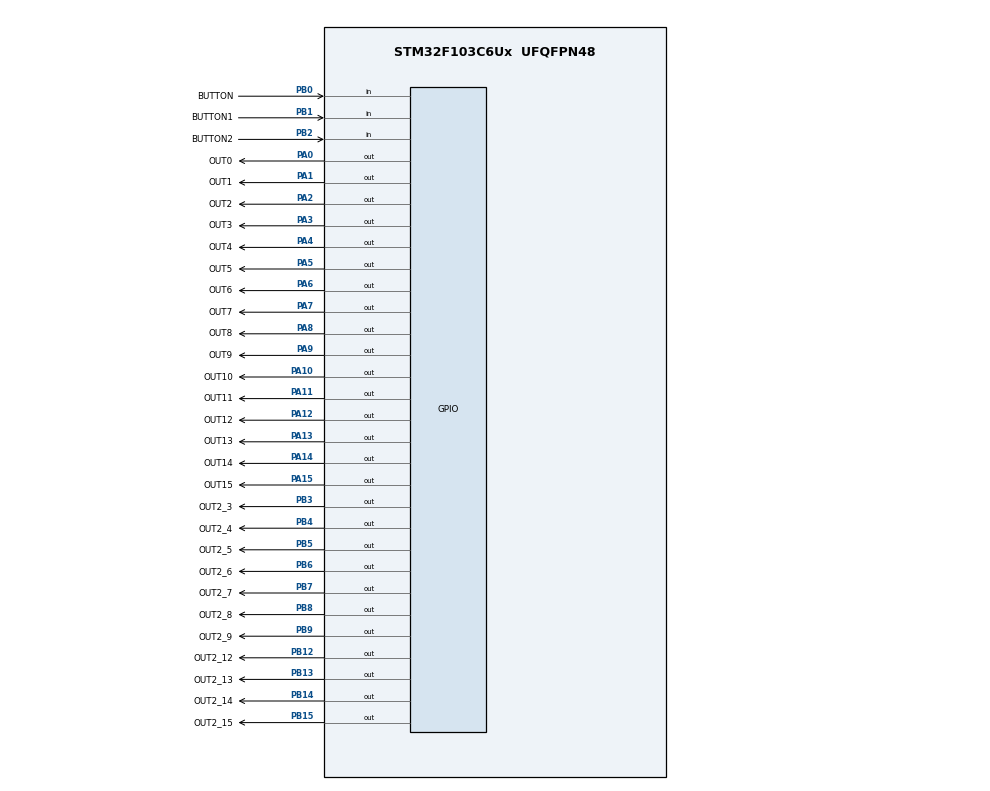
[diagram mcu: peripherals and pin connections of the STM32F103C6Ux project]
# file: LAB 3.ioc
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Mcu.Family=STM32F1
Mcu.Name=STM32F103C6Ux
Mcu.Package=UFQFPN48
NVIC.PriorityGroup=NVIC_PRIORITYGROUP_4
NVIC.TIM2_IRQn=true\:0\:0\:false\:false\:true\:true\:true
PA0-WKUP.GPIO_Label=OUT0
PA0-WKUP.Signal=GPIO_Output
PA1.GPIO_Label=OUT1
PA1.Signal=GPIO_Output
PA10.GPIO_Label=OUT10
PA10.Signal=GPIO_Output
PA11.GPIO_Label=OUT11
PA11.Signal=GPIO_Output
PA12.GPIO_Label=OUT12
PA12.Signal=GPIO_Output
PA13.GPIO_Label=OUT13
PA13.Signal=GPIO_Output
PA14.GPIO_Label=OUT14
PA14.Signal=GPIO_Output
PA15.GPIO_Label=OUT15
PA15.Signal=GPIO_Output
PA2.GPIO_Label=OUT2
PA2.Signal=GPIO_Output
PA3.GPIO_Label=OUT3
PA3.Signal=GPIO_Output
PA4.GPIO_Label=OUT4
PA4.Signal=GPIO_Output
PA5.GPIO_Label=OUT5
PA5.Signal=GPIO_Output
PA6.GPIO_Label=OUT6
PA6.Signal=GPIO_Output
PA7.GPIO_Label=OUT7
PA7.Signal=GPIO_Output
PA8.GPIO_Label=OUT8
PA8.Signal=GPIO_Output
PA9.GPIO_Label=OUT9
PA9.Signal=GPIO_Output
PB0.GPIO_Label=BUTTON
PB0.Signal=GPIO_Input
PB1.GPIO_Label=BUTTON1
PB1.Signal=GPIO_Input
PB12.GPIO_Label=OUT2_12
PB12.Signal=GPIO_Output
PB13.GPIO_Label=OUT2_13
PB13.Signal=GPIO_Output
PB14.GPIO_Label=OUT2_14
PB14.Signal=GPIO_Output
PB15.GPIO_Label=OUT2_15
PB15.Signal=GPIO_Output
PB2.GPIO_Label=BUTTON2
PB2.Signal=GPIO_Input
PB3.GPIO_Label=OUT2_3
PB3.Signal=GPIO_Output
PB4.GPIO_Label=OUT2_4
PB4.Signal=GPIO_Output
PB5.GPIO_Label=OUT2_5
PB5.Signal=GPIO_Output
PB6.GPIO_Label=OUT2_6
PB6.Signal=GPIO_Output
PB7.GPIO_Label=OUT2_7
PB7.Signal=GPIO_Output
PB8.GPIO_Label=OUT2_8
PB8.Signal=GPIO_Output
PB9.GPIO_Label=OUT2_9
PB9.Signal=GPIO_Output
ProjectManager.HeapSize=0x200
ProjectManager.StackSize=0x400
ProjectManager.TargetToolchain=STM32CubeIDE
RCC.APB1Freq_Value=8000000
RCC.APB2Freq_Value=8000000
TIM2.Period=9
TIM2.Prescaler=7999
VP_SYS_VS_ND.Mode=No_Debug
VP_TIM2_VS_ClockSourceINT.Mode=Internal
board=custom

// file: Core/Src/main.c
/* USER CODE BEGIN Header */
/**
  ******************************************************************************
  * @file           : main.c
  * @brief          : Main program body
  ******************************************************************************
  * @attention
  *
  * <h2><center>&copy; Copyright (c) 2023 STMicroelectronics.
  * All rights reserved.</center></h2>
  *
  * This software component is licensed by ST under BSD 3-Clause license,
  * the "License"; You may not use this file except in compliance with the
  * License. You may obtain a copy of the License at:
  *                        opensource.org/licenses/BSD-3-Clause
  *
  ******************************************************************************
  */
/* USER CODE END Header */
#include "main.h"
#include "Led.h"
#include "input_processing.h"

TIM_HandleTypeDef htim2;

void SystemClock_Config(void);
static void MX_GPIO_Init(void);
static void MX_TIM2_Init(void);

int main(void)
{

  /* MCU Configuration--------------------------------------------------------*/

  /* Reset of all peripherals, Initializes the Flash interface and the Systick. */
  HAL_Init();

  /* USER CODE BEGIN Init */
  //
  /* USER CODE END Init */

  /* Configure the system clock */
  SystemClock_Config();

  /* Initialize all configured peripherals */
  MX_GPIO_Init();
  MX_TIM2_Init();
  /* USER CODE BEGIN 2 */
	#define GREEN 3
	#define RED 5
	#define YELLOW 2
	#define Tick 10
	int TicktoSecond = 1000/Tick;
	int TotalTime = GREEN + RED+ YELLOW;
	static int TotalTime2 = GREEN + RED + YELLOW;
	static int Intitalizer = 0;
	int R,G,Y;
	int R1,G1,Y1,R2,G2,Y2;
	int LEDindex = 0;
	static int LEDindex1 = 0;
	static int LEDfirstSetNum = 0;
	int LEDSecondSetNum = 0;
	int DisplayCycleTime;
	static int DisplayCycleTime1;
	static int flipflop = 0;
	static int flipflop1 = 0;
	static int Mode = 0;
	int debounce;
	static int debounce1;
	static int debounce2;
	static int debounce3;
	static int SecondCount;
	static int RED1 = RED;
	static int GREEN1 = GREEN;
	static int YELLOW1 = YELLOW;
	static int TempRED1 = RED;
	static int TempGREEN1 = GREEN;
	static int TempYELLOW1 = YELLOW;
	extern int timer0_flag;
	setTimer0(10);
  HAL_TIM_Base_Start_IT (& htim2 ) ;
  /* USER CODE END 2 */

  /* Infinite loop */
  /* USER CODE BEGIN WHILE */
  while (1)
  {
	  if(timer0_flag == 1) {
    /* USER CODE END WHILE */
	  fsm_for_input_processing ();
		if (Intitalizer == 0){
			TotalTime2 = TotalTime2*TicktoSecond;
			TotalTime = TotalTime*TicktoSecond;
			R = RED1*TicktoSecond;
			G = GREEN1*TicktoSecond;
			Y = YELLOW1*TicktoSecond;
			R1 = RED1;
			G1 = GREEN1;
			Y1 = YELLOW1;
			R2 = RED1;
			G2 = GREEN1;
			Y2 = YELLOW1;
			DisplayCycleTime = TicktoSecond / 2;
			DisplayCycleTime1 = DisplayCycleTime;
			Intitalizer = 1;
			debounce = TicktoSecond/2;
			debounce1 = debounce;
			debounce2 = debounce;
			debounce3 = debounce;
			SecondCount = TicktoSecond/2;
		}

		if ( HAL_GPIO_ReadPin (OUT13_GPIO_Port , OUT13_Pin) == GPIO_PIN_RESET && debounce1>= debounce){
			if (Mode == 0){
				HAL_GPIO_WritePin ( OUT0_GPIO_Port , OUT0_Pin ,GPIO_PIN_SET);
				HAL_GPIO_WritePin ( OUT1_GPIO_Port , OUT1_Pin ,GPIO_PIN_SET);
				HAL_GPIO_WritePin ( OUT2_GPIO_Port , OUT2_Pin ,GPIO_PIN_SET);
				HAL_GPIO_WritePin ( OUT3_GPIO_Port , OUT3_Pin ,GPIO_PIN_SET);
				HAL_GPIO_WritePin ( OUT4_GPIO_Port , OUT4_Pin ,GPIO_PIN_SET);
				HAL_GPIO_WritePin ( OUT5_GPIO_Port , OUT5_Pin ,GPIO_PIN_SET);
				flipflop = 0;
				flipflop1 = 0;
				Mode++;
				LEDfirstSetNum = RED1;
				LEDSecondSetNum = Mode;
			}
			else if (Mode == 1){
				HAL_GPIO_WritePin ( OUT0_GPIO_Port , OUT0_Pin ,GPIO_PIN_SET);
				HAL_GPIO_WritePin ( OUT1_GPIO_Port , OUT1_Pin ,GPIO_PIN_SET);
				HAL_GPIO_WritePin ( OUT2_GPIO_Port , OUT2_Pin ,GPIO_PIN_SET);
				HAL_GPIO_WritePin ( OUT3_GPIO_Port , OUT3_Pin ,GPIO_PIN_SET);
				HAL_GPIO_WritePin ( OUT4_GPIO_Port , OUT4_Pin ,GPIO_PIN_SET);
				HAL_GPIO_WritePin ( OUT5_GPIO_Port , OUT5_Pin ,GPIO_PIN_SET);
				flipflop = 0;
				flipflop1 = 0;
				Mode++;
				LEDfirstSetNum = YELLOW1;
				LEDSecondSetNum = Mode;
			}
			else if (Mode == 2){
				HAL_GPIO_WritePin ( OUT0_GPIO_Port , OUT0_Pin ,GPIO_PIN_SET);
				HAL_GPIO_WritePin ( OUT1_GPIO_Port , OUT1_Pin ,GPIO_PIN_SET);
				HAL_GPIO_WritePin ( OUT2_GPIO_Port , OUT2_Pin ,GPIO_PIN_SET);
				HAL_GPIO_WritePin ( OUT3_GPIO_Port , OUT3_Pin ,GPIO_PIN_SET);
				HAL_GPIO_WritePin ( OUT4_GPIO_Port , OUT4_Pin ,GPIO_PIN_SET);
				HAL_GPIO_WritePin ( OUT5_GPIO_Port , OUT5_Pin ,GPIO_PIN_SET);
				flipflop = 0;
				flipflop1 = 0;
				Mode++;
				LEDfirstSetNum = GREEN1;
				LEDSecondSetNum = Mode;
			}
			else{
				TotalTime = (RED1 + GREEN1 + YELLOW1)*TicktoSecond;
				TotalTime2 = TotalTime;
				R1 = RED1;
				G1 = GREEN1;
				Y1 = YELLOW1;
				R2 = RED1;
				G2 = GREEN1;
				Y2 = YELLOW1;
				LEDindex = 0;
				LEDindex1 = 0;
				LEDfirstSetNum = 0;
				LEDSecondSetNum = 0;
				DisplayCycleTime1 = DisplayCycleTime;
				TempRED1 = RED1;
				TempYELLOW1 = YELLOW1;
				TempGREEN1 = GREEN1;
				Mode = 0;
			}
			debounce1 = 0;
		}
		debounce1++;
		switch(Mode){
			case 0:
				if( TotalTime2 <= TotalTime && TotalTime2 > TotalTime - R) {
					HAL_GPIO_WritePin ( OUT0_GPIO_Port , OUT0_Pin ,GPIO_PIN_RESET);
					HAL_GPIO_WritePin ( OUT1_GPIO_Port , OUT1_Pin ,GPIO_PIN_SET);
					HAL_GPIO_WritePin ( OUT2_GPIO_Port , OUT2_Pin ,GPIO_PIN_SET);

				}
				else if (TotalTime2 <= TotalTime - R && TotalTime2 > TotalTime - R - G){
					HAL_GPIO_WritePin ( OUT0_GPIO_Port , OUT0_Pin ,GPIO_PIN_SET);
					HAL_GPIO_WritePin ( OUT1_GPIO_Port , OUT1_Pin ,GPIO_PIN_SET);
					HAL_GPIO_WritePin ( OUT2_GPIO_Port , OUT2_Pin ,GPIO_PIN_RESET);
				}
				else if (TotalTime2 <= TotalTime - R - G && TotalTime2 > 0){
					HAL_GPIO_WritePin ( OUT0_GPIO_Port , OUT0_Pin ,GPIO_PIN_SET);
					HAL_GPIO_WritePin ( OUT1_GPIO_Port , OUT1_Pin ,GPIO_PIN_RESET);
					HAL_GPIO_WritePin ( OUT2_GPIO_Port , OUT2_Pin ,GPIO_PIN_SET);
				}
				if (TotalTime2 % TicktoSecond == 0){

					switch (LEDindex) {
						case 0:
							LEDfirstSetNum = R1;
							R1--;
							if (R1 == 0){
								LEDindex = 1;
								R1 = RED1;
							}
							break ;
						case 1:
							LEDfirstSetNum = G1;
							G1--;
							if (G1 == 0){
								LEDindex = 2;
								G1 = GREEN1;
							}
							break ;
						case 2:
							LEDfirstSetNum = Y1;
							Y1--;
							if (Y1 == 0){
								LEDindex = 0;
								Y1 = YELLOW1;
							}
							break ;
						default :
							break ;
						}
					switch (LEDindex1) {
						case 0:
							LEDSecondSetNum = G2;
							G2--;
							if (G2 == 0){
								LEDindex1 = 1;
								G2 = GREEN1;
							}
							break ;
						case 1:
							LEDSecondSetNum = Y2;
							Y2--;
							if (Y2 == 0){
								LEDindex1 = 2;
								Y2 = YELLOW1;
							}
							break ;
						case 2:
							LEDSecondSetNum = R2;
							R2--;
							if (R2 == 0){
								LEDindex1 = 0;
								R2 = RED1;
							}
							break ;
						default :
							break ;
						}

					}

				if( TotalTime2 <= TotalTime && TotalTime2 > TotalTime - G) {
					HAL_GPIO_WritePin ( OUT3_GPIO_Port , OUT3_Pin ,GPIO_PIN_SET);
					HAL_GPIO_WritePin ( OUT4_GPIO_Port , OUT4_Pin ,GPIO_PIN_SET);
					HAL_GPIO_WritePin ( OUT5_GPIO_Port , OUT5_Pin ,GPIO_PIN_RESET);
				}
				else if (TotalTime2 <= TotalTime - G && TotalTime2 > TotalTime - Y - G){
					HAL_GPIO_WritePin ( OUT3_GPIO_Port , OUT3_Pin ,GPIO_PIN_SET);
					HAL_GPIO_WritePin ( OUT4_GPIO_Port , OUT4_Pin ,GPIO_PIN_RESET);
					HAL_GPIO_WritePin ( OUT5_GPIO_Port , OUT5_Pin ,GPIO_PIN_SET);
				}
				else if (TotalTime2 <= TotalTime - Y - G && TotalTime2 > 0){
					HAL_GPIO_WritePin ( OUT3_GPIO_Port , OUT3_Pin ,GPIO_PIN_RESET);
					HAL_GPIO_WritePin ( OUT4_GPIO_Port , OUT4_Pin ,GPIO_PIN_SET);
					HAL_GPIO_WritePin ( OUT5_GPIO_Port , OUT5_Pin ,GPIO_PIN_SET);
				}

				if (DisplayCycleTime1 <= 0){
					switch(flipflop){
						case 0:
							HAL_GPIO_WritePin ( OUT2_12_GPIO_Port , OUT2_12_Pin ,GPIO_PIN_RESET);
							HAL_GPIO_WritePin ( OUT2_13_GPIO_Port , OUT2_13_Pin ,GPIO_PIN_SET);
							update7SEGFirstSet(0,LEDfirstSetNum/10,LEDfirstSetNum%10);
							flipflop = 1;
							break;
						case 1:
							HAL_GPIO_WritePin ( OUT2_12_GPIO_Port , OUT2_12_Pin ,GPIO_PIN_SET);
							HAL_GPIO_WritePin ( OUT2_13_GPIO_Port , OUT2_13_Pin ,GPIO_PIN_RESET);
							update7SEGFirstSet(1,LEDfirstSetNum/10,LEDfirstSetNum%10);
							flipflop = 0;
							break;
						default :
							break ;

					}
					switch(flipflop1){
						case 0:
							HAL_GPIO_WritePin ( OUT2_14_GPIO_Port , OUT2_14_Pin ,GPIO_PIN_RESET);
							HAL_GPIO_WritePin ( OUT2_15_GPIO_Port , OUT2_15_Pin ,GPIO_PIN_SET);
							update7SEGSecondSet(0,LEDSecondSetNum/10,LEDSecondSetNum%10);
							flipflop1 = 1;
							break;
						case 1:
							HAL_GPIO_WritePin ( OUT2_14_GPIO_Port , OUT2_14_Pin ,GPIO_PIN_SET);
							HAL_GPIO_WritePin ( OUT2_15_GPIO_Port , OUT2_15_Pin ,GPIO_PIN_RESET);
							update7SEGSecondSet(1,LEDSecondSetNum/10,LEDSecondSetNum%10);
							flipflop1 = 0;
							break;
						default :
							break ;

					}
					DisplayCycleTime1 = DisplayCycleTime;
				}

				if (TotalTime2 <= 0){
					TotalTime2 = TotalTime;
				}

				DisplayCycleTime1--;
				TotalTime2--;
				break;
			case 1:
				SecondCount--;
				if (SecondCount <= 0){
					HAL_GPIO_TogglePin(OUT0_GPIO_Port,OUT0_Pin);
					HAL_GPIO_TogglePin(OUT3_GPIO_Port,OUT3_Pin);
					SecondCount = TicktoSecond/2;
				}
				if ( HAL_GPIO_ReadPin (OUT14_GPIO_Port , OUT14_Pin) == GPIO_PIN_RESET && debounce2>= debounce){
					TempRED1++;
					LEDfirstSetNum = TempRED1;
					debounce2 = 0;
				}
				if ( HAL_GPIO_ReadPin (OUT15_GPIO_Port , OUT15_Pin) == GPIO_PIN_RESET && debounce3>= debounce){
					RED1 = TempRED1;
					LEDfirstSetNum = RED1;
					debounce3 = 0;
				}

				if (DisplayCycleTime1 <= 0){
					switch(flipflop){
						case 0:
							HAL_GPIO_WritePin ( OUT2_12_GPIO_Port , OUT2_12_Pin ,GPIO_PIN_RESET);
							HAL_GPIO_WritePin ( OUT2_13_GPIO_Port , OUT2_13_Pin ,GPIO_PIN_SET);
							update7SEGFirstSet(0,LEDfirstSetNum/10,LEDfirstSetNum%10);
							flipflop = 1;
							break;
						case 1:
							HAL_GPIO_WritePin ( OUT2_12_GPIO_Port , OUT2_12_Pin ,GPIO_PIN_SET);
							HAL_GPIO_WritePin ( OUT2_13_GPIO_Port , OUT2_13_Pin ,GPIO_PIN_RESET);
							update7SEGFirstSet(1,LEDfirstSetNum/10,LEDfirstSetNum%10);
							flipflop = 0;
							break;
						default :
							break ;

					}
					switch(flipflop1){
						case 0:
							HAL_GPIO_WritePin ( OUT2_14_GPIO_Port , OUT2_14_Pin ,GPIO_PIN_RESET);
							HAL_GPIO_WritePin ( OUT2_15_GPIO_Port , OUT2_15_Pin ,GPIO_PIN_SET);
							update7SEGSecondSet(0,LEDSecondSetNum/10,LEDSecondSetNum%10);
							flipflop1 = 1;
							break;
						case 1:
							HAL_GPIO_WritePin ( OUT2_14_GPIO_Port , OUT2_14_Pin ,GPIO_PIN_SET);
							HAL_GPIO_WritePin ( OUT2_15_GPIO_Port , OUT2_15_Pin ,GPIO_PIN_RESET);
							update7SEGSecondSet(1,LEDSecondSetNum/10,LEDSecondSetNum%10);
							flipflop1 = 0;
							break;
						default :
							break ;

					}
					DisplayCycleTime1 = DisplayCycleTime;
				}
				debounce3++;
				debounce2++;
				DisplayCycleTime1--;
				break;
			case 2:
				SecondCount--;
				if (SecondCount <= 0){
					HAL_GPIO_TogglePin(OUT1_GPIO_Port,OUT1_Pin);
					HAL_GPIO_TogglePin(OUT4_GPIO_Port,OUT4_Pin);
					SecondCount = TicktoSecond/2;
				}

				if ( HAL_GPIO_ReadPin (OUT14_GPIO_Port , OUT14_Pin) == GPIO_PIN_RESET && debounce2>= debounce){
					TempYELLOW1++;
					LEDfirstSetNum = TempYELLOW1;
					debounce2 = 0;
				}
				if ( HAL_GPIO_ReadPin (OUT15_GPIO_Port , OUT15_Pin) == GPIO_PIN_RESET && debounce3>= debounce){
					YELLOW1 = TempYELLOW1;
					LEDfirstSetNum = YELLOW1;
					debounce3 = 0;
				}

				if (DisplayCycleTime1 <= 0){
					switch(flipflop){
						case 0:
							HAL_GPIO_WritePin ( OUT2_12_GPIO_Port , OUT2_12_Pin ,GPIO_PIN_RESET);
							HAL_GPIO_WritePin ( OUT2_13_GPIO_Port , OUT2_13_Pin ,GPIO_PIN_SET);
							update7SEGFirstSet(0,LEDfirstSetNum/10,LEDfirstSetNum%10);
							flipflop = 1;
							break;
						case 1:
							HAL_GPIO_WritePin ( OUT2_12_GPIO_Port , OUT2_12_Pin ,GPIO_PIN_SET);
							HAL_GPIO_WritePin ( OUT2_13_GPIO_Port , OUT2_13_Pin ,GPIO_PIN_RESET);
							update7SEGFirstSet(1,LEDfirstSetNum/10,LEDfirstSetNum%10);
							flipflop = 0;
							break;
						default :
							break ;

					}
					switch(flipflop1){
						case 0:
							HAL_GPIO_WritePin ( OUT2_14_GPIO_Port , OUT2_14_Pin ,GPIO_PIN_RESET);
							HAL_GPIO_WritePin ( OUT2_15_GPIO_Port , OUT2_15_Pin ,GPIO_PIN_SET);
							update7SEGSecondSet(0,LEDSecondSetNum/10,LEDSecondSetNum%10);
							flipflop1 = 1;
							break;
						case 1:
							HAL_GPIO_WritePin ( OUT2_14_GPIO_Port , OUT2_14_Pin ,GPIO_PIN_SET);
							HAL_GPIO_WritePin ( OUT2_15_GPIO_Port , OUT2_15_Pin ,GPIO_PIN_RESET);
							update7SEGSecondSet(1,LEDSecondSetNum/10,LEDSecondSetNum%10);
							flipflop1 = 0;
							break;
						default :
							break ;

					}
					DisplayCycleTime1 = DisplayCycleTime;
				}
				debounce3++;
				debounce2++;
				DisplayCycleTime1--;
				break;
			case 3:
				SecondCount--;
				if (SecondCount <= 0){
					HAL_GPIO_TogglePin(OUT2_GPIO_Port,OUT2_Pin);
					HAL_GPIO_TogglePin(OUT5_GPIO_Port,OUT5_Pin);
					SecondCount = TicktoSecond/2;
				}

				if ( HAL_GPIO_ReadPin (OUT14_GPIO_Port , OUT14_Pin) == GPIO_PIN_RESET && debounce2>= debounce){
					TempGREEN1++;
					LEDfirstSetNum = TempGREEN1;
					debounce2 = 0;
				}
				if ( HAL_GPIO_ReadPin (OUT15_GPIO_Port , OUT15_Pin) == GPIO_PIN_RESET && debounce3>= debounce){
					GREEN1 = TempGREEN1;
					LEDfirstSetNum = GREEN1;
					debounce3 = 0;
				}

				if (DisplayCycleTime1 <= 0){
					switch(flipflop){
						case 0:
							HAL_GPIO_WritePin ( OUT2_12_GPIO_Port , OUT2_12_Pin ,GPIO_PIN_RESET);
							HAL_GPIO_WritePin ( OUT2_13_GPIO_Port , OUT2_13_Pin ,GPIO_PIN_SET);
							update7SEGFirstSet(0,LEDfirstSetNum/10,LEDfirstSetNum%10);
							flipflop = 1;
							break;
						case 1:
							HAL_GPIO_WritePin ( OUT2_12_GPIO_Port , OUT2_12_Pin ,GPIO_PIN_SET);
							HAL_GPIO_WritePin ( OUT2_13_GPIO_Port , OUT2_13_Pin ,GPIO_PIN_RESET);
							update7SEGFirstSet(1,LEDfirstSetNum/10,LEDfirstSetNum%10);
							flipflop = 0;
							break;
						default :
							break ;

					}
					switch(flipflop1){
						case 0:
							HAL_GPIO_WritePin ( OUT2_14_GPIO_Port , OUT2_14_Pin ,GPIO_PIN_RESET);
							HAL_GPIO_WritePin ( OUT2_15_GPIO_Port , OUT2_15_Pin ,GPIO_PIN_SET);
							update7SEGSecondSet(0,LEDSecondSetNum/10,LEDSecondSetNum%10);
							flipflop1 = 1;
							break;
						case 1:
							HAL_GPIO_WritePin ( OUT2_14_GPIO_Port , OUT2_14_Pin ,GPIO_PIN_SET);
							HAL_GPIO_WritePin ( OUT2_15_GPIO_Port , OUT2_15_Pin ,GPIO_PIN_RESET);
							update7SEGSecondSet(1,LEDSecondSetNum/10,LEDSecondSetNum%10);
							flipflop1 = 0;
							break;
						default :
							break ;

					}
					DisplayCycleTime1 = DisplayCycleTime;
				}
				debounce3++;
				debounce2++;
				DisplayCycleTime1--;
				break;

		}
		setTimer0(10);
	  }
  }
}

void SystemClock_Config(void)
{
  RCC_OscInitTypeDef RCC_OscInitStruct = {0};
  RCC_ClkInitTypeDef RCC_ClkInitStruct = {0};

  /** Initializes the RCC Oscillators according to the specified parameters
  * in the RCC_OscInitTypeDef structure.
  */
  RCC_OscInitStruct.OscillatorType = RCC_OSCILLATORTYPE_HSI;
  RCC_OscInitStruct.HSIState = RCC_HSI_ON;
  RCC_OscInitStruct.HSICalibrationValue = RCC_HSICALIBRATION_DEFAULT;
  RCC_OscInitStruct.PLL.PLLState = RCC_PLL_NONE;
  if (HAL_RCC_OscConfig(&RCC_OscInitStruct) != HAL_OK)
  {
    Error_Handler();
  }
  /** Initializes the CPU, AHB and APB buses clocks
  */
  RCC_ClkInitStruct.ClockType = RCC_CLOCKTYPE_HCLK|RCC_CLOCKTYPE_SYSCLK
                              |RCC_CLOCKTYPE_PCLK1|RCC_CLOCKTYPE_PCLK2;
  RCC_ClkInitStruct.SYSCLKSource = RCC_SYSCLKSOURCE_HSI;
  RCC_ClkInitStruct.AHBCLKDivider = RCC_SYSCLK_DIV1;
  RCC_ClkInitStruct.APB1CLKDivider = RCC_HCLK_DIV1;
  RCC_ClkInitStruct.APB2CLKDivider = RCC_HCLK_DIV1;

  if (HAL_RCC_ClockConfig(&RCC_ClkInitStruct, FLASH_LATENCY_0) != HAL_OK)
  {
    Error_Handler();
  }
}

static void MX_TIM2_Init(void)
{

  TIM_ClockConfigTypeDef sClockSourceConfig = {0};
  TIM_MasterConfigTypeDef sMasterConfig = {0};

  htim2.Instance = TIM2;
  htim2.Init.Prescaler = 7999;
  htim2.Init.CounterMode = TIM_COUNTERMODE_UP;
  htim2.Init.Period = 9;
  htim2.Init.ClockDivision = TIM_CLOCKDIVISION_DIV1;
  htim2.Init.AutoReloadPreload = TIM_AUTORELOAD_PRELOAD_DISABLE;
  if (HAL_TIM_Base_Init(&htim2) != HAL_OK)
  {
    Error_Handler();
  }
  sClockSourceConfig.ClockSource = TIM_CLOCKSOURCE_INTERNAL;
  if (HAL_TIM_ConfigClockSource(&htim2, &sClockSourceConfig) != HAL_OK)
  {
    Error_Handler();
  }
  sMasterConfig.MasterOutputTrigger = TIM_TRGO_RESET;
  sMasterConfig.MasterSlaveMode = TIM_MASTERSLAVEMODE_DISABLE;
  if (HAL_TIMEx_MasterConfigSynchronization(&htim2, &sMasterConfig) != HAL_OK)
  {
    Error_Handler();
  }

}

static void MX_GPIO_Init(void)
{
  GPIO_InitTypeDef GPIO_InitStruct = {0};

  /* GPIO Ports Clock Enable */
  __HAL_RCC_GPIOA_CLK_ENABLE();
  __HAL_RCC_GPIOB_CLK_ENABLE();

  /*Configure GPIO pin Output Level */
  HAL_GPIO_WritePin(GPIOA, OUT0_Pin|OUT1_Pin|OUT2_Pin|OUT3_Pin
                          |OUT4_Pin|OUT5_Pin|OUT6_Pin|OUT7_Pin
                          |OUT8_Pin|OUT9_Pin|OUT10_Pin|OUT11_Pin
                          |OUT12_Pin|OUT13_Pin|OUT14_Pin|OUT15_Pin, GPIO_PIN_RESET);

  /*Configure GPIO pin Output Level */
  HAL_GPIO_WritePin(GPIOB, OUT2_12_Pin|OUT2_13_Pin|OUT2_14_Pin|OUT2_15_Pin
                          |OUT2_3_Pin|OUT2_4_Pin|OUT2_5_Pin|OUT2_6_Pin
                          |OUT2_7_Pin|OUT2_8_Pin|OUT2_9_Pin, GPIO_PIN_RESET);

  /*Configure GPIO pins : OUT0_Pin OUT1_Pin OUT2_Pin OUT3_Pin
                           OUT4_Pin OUT5_Pin OUT6_Pin OUT7_Pin
                           OUT8_Pin OUT9_Pin OUT10_Pin OUT11_Pin
                           OUT12_Pin OUT13_Pin OUT14_Pin OUT15_Pin */
  GPIO_InitStruct.Pin = OUT0_Pin|OUT1_Pin|OUT2_Pin|OUT3_Pin
                          |OUT4_Pin|OUT5_Pin|OUT6_Pin|OUT7_Pin
                          |OUT8_Pin|OUT9_Pin|OUT10_Pin|OUT11_Pin
                          |OUT12_Pin|OUT13_Pin|OUT14_Pin|OUT15_Pin;
  GPIO_InitStruct.Mode = GPIO_MODE_OUTPUT_PP;
  GPIO_InitStruct.Pull = GPIO_NOPULL;
  GPIO_InitStruct.Speed = GPIO_SPEED_FREQ_LOW;
  HAL_GPIO_Init(GPIOA, &GPIO_InitStruct);

  /*Configure GPIO pins : BUTTON_Pin BUTTON1_Pin BUTTON2_Pin */
  GPIO_InitStruct.Pin = BUTTON_Pin|BUTTON1_Pin|BUTTON2_Pin;
  GPIO_InitStruct.Mode = GPIO_MODE_INPUT;
  GPIO_InitStruct.Pull = GPIO_NOPULL;
  HAL_GPIO_Init(GPIOB, &GPIO_InitStruct);

  /*Configure GPIO pins : OUT2_12_Pin OUT2_13_Pin OUT2_14_Pin OUT2_15_Pin
                           OUT2_3_Pin OUT2_4_Pin OUT2_5_Pin OUT2_6_Pin
                           OUT2_7_Pin OUT2_8_Pin OUT2_9_Pin */
  GPIO_InitStruct.Pin = OUT2_12_Pin|OUT2_13_Pin|OUT2_14_Pin|OUT2_15_Pin
                          |OUT2_3_Pin|OUT2_4_Pin|OUT2_5_Pin|OUT2_6_Pin
                          |OUT2_7_Pin|OUT2_8_Pin|OUT2_9_Pin;
  GPIO_InitStruct.Mode = GPIO_MODE_OUTPUT_PP;
  GPIO_InitStruct.Pull = GPIO_NOPULL;
  GPIO_InitStruct.Speed = GPIO_SPEED_FREQ_LOW;
  HAL_GPIO_Init(GPIOB, &GPIO_InitStruct);

}

void Error_Handler(void)
{
  __disable_irq();
  while (1)
  {
  }
}

/************************ (C) COPYRIGHT STMicroelectronics *****END OF FILE****/
